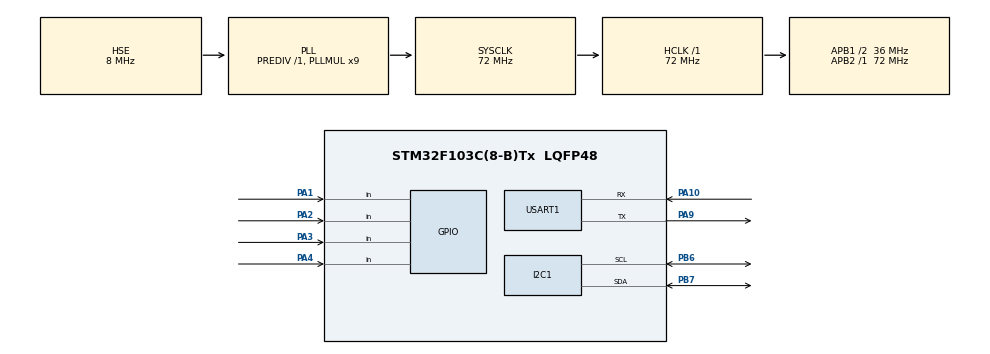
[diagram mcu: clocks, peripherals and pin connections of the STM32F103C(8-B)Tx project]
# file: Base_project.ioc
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FREERTOS.Tasks01=defaultTask,24,128,StartDefaultTask,Default,NULL,Dynamic,NULL,NULL
FREERTOS.configTOTAL_HEAP_SIZE=8000
FREERTOS.configUSE_IDLE_HOOK=1
Mcu.Family=STM32F1
Mcu.Name=STM32F103C(8-B)Tx
Mcu.Package=LQFP48
NVIC.PriorityGroup=NVIC_PRIORITYGROUP_4
NVIC.TIM3_IRQn=true\:5\:0\:false\:false\:true\:true\:true\:true\:true
NVIC.TIM4_IRQn=true\:15\:0\:false\:false\:true\:false\:false\:true\:true
NVIC.TimeBase=TIM4_IRQn
NVIC.TimeBaseIP=TIM4
PA1.GPIO_PuPd=GPIO_PULLUP
PA1.Signal=GPIO_Input
PA10.Mode=Asynchronous
PA10.Signal=USART1_RX
PA13.Mode=Serial_Wire
PA13.Signal=SYS_JTMS-SWDIO
PA14.Mode=Serial_Wire
PA14.Signal=SYS_JTCK-SWCLK
PA2.GPIO_PuPd=GPIO_PULLUP
PA2.Signal=GPIO_Input
PA3.GPIO_PuPd=GPIO_PULLUP
PA3.Signal=GPIO_Input
PA4.GPIO_PuPd=GPIO_PULLUP
PA4.Signal=GPIO_Input
PA9.Mode=Asynchronous
PA9.Signal=USART1_TX
PB6.Mode=I2C
PB6.Signal=I2C1_SCL
PB7.Mode=I2C
PB7.Signal=I2C1_SDA
PC14-OSC32_IN.Mode=LSE-External-Oscillator
PC14-OSC32_IN.Signal=RCC_OSC32_IN
PC15-OSC32_OUT.Mode=LSE-External-Oscillator
PC15-OSC32_OUT.Signal=RCC_OSC32_OUT
PD0-OSC_IN.Mode=HSE-External-Oscillator
PD0-OSC_IN.Signal=RCC_OSC_IN
PD1-OSC_OUT.Mode=HSE-External-Oscillator
PD1-OSC_OUT.Signal=RCC_OSC_OUT
ProjectManager.HeapSize=0x200
ProjectManager.StackSize=0x400
ProjectManager.TargetToolchain=MDK-ARM V5.32
RCC.AHBFreq_Value=72000000
RCC.APB1CLKDivider=RCC_HCLK_DIV2
RCC.APB1Freq_Value=36000000
RCC.APB1TimFreq_Value=72000000
RCC.APB2Freq_Value=72000000
RCC.APB2TimFreq_Value=72000000
RCC.HCLKFreq_Value=72000000
RCC.PLLMUL=RCC_PLL_MUL9
RCC.PLLSourceVirtual=RCC_PLLSOURCE_HSE
RCC.RTCClockSelection=RCC_RTCCLKSOURCE_HSE_DIV128
RCC.SYSCLKFreq_VALUE=72000000
RCC.SYSCLKSource=RCC_SYSCLKSOURCE_PLLCLK
RCC.USBFreq_Value=72000000
TIM3.AutoReloadPreload=TIM_AUTORELOAD_PRELOAD_ENABLE
TIM3.Period=100
TIM3.Prescaler=7200
USART1.VirtualMode=VM_ASYNC
VP_FREERTOS_VS_CMSIS_V2.Mode=CMSIS_V2
VP_RTC_VS_RTC_Activate.Mode=RTC_Enabled
VP_SYS_VS_tim4.Mode=TIM4
VP_TIM3_VS_ClockSourceINT.Mode=Internal
board=custom

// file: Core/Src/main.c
/* USER CODE BEGIN Header */
/**
  ******************************************************************************
  * @file           : main.c
  * @brief          : Main program body
  ******************************************************************************
  * @attention
  *
  * Copyright (c) 2025 STMicroelectronics.
  * All rights reserved.
  *
  * This software is licensed under terms that can be found in the LICENSE file
  * in the root directory of this software component.
  * If no LICENSE file comes with this software, it is provided AS-IS.
  *
  ******************************************************************************
  */
/* USER CODE END Header */
#include "main.h"
#include "cmsis_os.h"
#include "i2c.h"
#include "rtc.h"
#include "tim.h"
#include "usart.h"
#include "gpio.h"

void SystemClock_Config(void);
void MX_FREERTOS_Init(void);

int main(void)
{

  /* MCU Configuration--------------------------------------------------------*/

  /* Reset of all peripherals, Initializes the Flash interface and the Systick. */
  HAL_Init();

  /* Configure the system clock */
  SystemClock_Config();

  /* Initialize all configured peripherals */
  MX_GPIO_Init();
  MX_I2C1_Init();
  MX_USART1_UART_Init();
  MX_RTC_Init();
  MX_TIM3_Init();

  /* Init scheduler */
  osKernelInitialize();

  /* Call init function for freertos objects (in cmsis_os2.c) */
  MX_FREERTOS_Init();

  /* Start scheduler */
  osKernelStart();

  /* We should never get here as control is now taken by the scheduler */

  /* Infinite loop */
  while (1)
  {

  }
}

void SystemClock_Config(void)
{
  RCC_OscInitTypeDef RCC_OscInitStruct = {0};
  RCC_ClkInitTypeDef RCC_ClkInitStruct = {0};
  RCC_PeriphCLKInitTypeDef PeriphClkInit = {0};

  /** Initializes the RCC Oscillators according to the specified parameters
  * in the RCC_OscInitTypeDef structure.
  */
  RCC_OscInitStruct.OscillatorType = RCC_OSCILLATORTYPE_HSE;
  RCC_OscInitStruct.HSEState = RCC_HSE_ON;
  RCC_OscInitStruct.HSEPredivValue = RCC_HSE_PREDIV_DIV1;
  RCC_OscInitStruct.HSIState = RCC_HSI_ON;
  RCC_OscInitStruct.PLL.PLLState = RCC_PLL_ON;
  RCC_OscInitStruct.PLL.PLLSource = RCC_PLLSOURCE_HSE;
  RCC_OscInitStruct.PLL.PLLMUL = RCC_PLL_MUL9;
  if (HAL_RCC_OscConfig(&RCC_OscInitStruct) != HAL_OK)
  {
    Error_Handler();
  }

  /** Initializes the CPU, AHB and APB buses clocks
  */
  RCC_ClkInitStruct.ClockType = RCC_CLOCKTYPE_HCLK|RCC_CLOCKTYPE_SYSCLK
                              |RCC_CLOCKTYPE_PCLK1|RCC_CLOCKTYPE_PCLK2;
  RCC_ClkInitStruct.SYSCLKSource = RCC_SYSCLKSOURCE_PLLCLK;
  RCC_ClkInitStruct.AHBCLKDivider = RCC_SYSCLK_DIV1;
  RCC_ClkInitStruct.APB1CLKDivider = RCC_HCLK_DIV2;
  RCC_ClkInitStruct.APB2CLKDivider = RCC_HCLK_DIV1;

  if (HAL_RCC_ClockConfig(&RCC_ClkInitStruct, FLASH_LATENCY_2) != HAL_OK)
  {
    Error_Handler();
  }
  PeriphClkInit.PeriphClockSelection = RCC_PERIPHCLK_RTC;
  PeriphClkInit.RTCClockSelection = RCC_RTCCLKSOURCE_HSE_DIV128;
  if (HAL_RCCEx_PeriphCLKConfig(&PeriphClkInit) != HAL_OK)
  {
    Error_Handler();
  }
}

void HAL_TIM_PeriodElapsedCallback(TIM_HandleTypeDef *htim)
{
  if (htim->Instance == TIM4)
  {
    HAL_IncTick();
  }
}

void Error_Handler(void)
{
  __disable_irq();
  while (1)
  {
  }
}

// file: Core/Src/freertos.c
/* USER CODE BEGIN Header */
/**
  ******************************************************************************
  * File Name          : freertos.c
  * Description        : Code for freertos applications
  ******************************************************************************
  * @attention
  *
  * Copyright (c) 2025 STMicroelectronics.
  * All rights reserved.
  *
  * This software is licensed under terms that can be found in the LICENSE file
  * in the root directory of this software component.
  * If no LICENSE file comes with this software, it is provided AS-IS.
  *
  ******************************************************************************
  */

/* USER CODE END Header */

#include "FreeRTOS.h"
#include "task.h"
#include "main.h"
#include "cmsis_os.h"

/* USER CODE BEGIN Includes */
#include <stdio.h>
#include "key.h"
#include "oled.h"

/* USER CODE END Includes */

/* USER CODE BEGIN PTD */
 extern TIM_HandleTypeDef htim3;
/* USER CODE END PTD */

/* Definitions for defaultTask */
osThreadId_t defaultTaskHandle;
const osThreadAttr_t defaultTask_attributes = {
  .name = "defaultTask",
  .stack_size = 128 * 4,
  .priority = (osPriority_t) osPriorityNormal,
};

void StartDefaultTask(void *argument);

void MX_FREERTOS_Init(void); /* (MISRA C 2004 rule 8.1) */

/* Hook prototypes */
void vApplicationIdleHook(void);

/* USER CODE BEGIN 2 */
void vApplicationIdleHook( void )
{
   /* vApplicationIdleHook() will only be called if configUSE_IDLE_HOOK is set
   to 1 in FreeRTOSConfig.h. It will be called on each iteration of the idle
   task. It is essential that code added to this hook function never attempts
   to block in any way (for example, call xQueueReceive() with a block time
   specified, or call vTaskDelay()). If the application makes use of the
   vTaskDelete() API function (as this demo application does) then it is also
   important that vApplicationIdleHook() is permitted to return to its calling
   function, because it is the responsibility of the idle task to clean up
   memory allocated by the kernel to any task that has since been deleted. */
}
/* USER CODE END 2 */

void MX_FREERTOS_Init(void) {
  /* USER CODE BEGIN Init */
	HAL_TIM_Base_Start_IT(&htim3);
	key_init();
	oled_init();
  /* USER CODE END Init */

  /* Create the thread(s) */
  /* creation of defaultTask */
  defaultTaskHandle = osThreadNew(StartDefaultTask, NULL, &defaultTask_attributes);

}

void StartDefaultTask(void *argument)
{
  /* USER CODE BEGIN StartDefaultTask */
	key_state_t key;

	printf("Hello word\r\n");
	  oled_show_char(0, 0, 'A', OLED_FONT_6X8);
    oled_show_string(10, 0, (uint8_t*)"123", OLED_FONT_6X8);
	 oled_show_string(10, 16, (uint8_t*)"123", OLED_FONT_6X8);
	 oled_show_string(10, 32, (uint8_t*)"123", OLED_FONT_6X8);
	oled_update_all();//必须要更新屏幕123

  /* Infinite loop */
  for(;;)
  {
	  key_get_state(&key);
	  if(key.value != NO_KEY){
		  printf("key.value:%d\r\n",key.value);
			printf("key.event:%d\r\n",key.event);

	  }
//	  vTaskDelete(NULL);
    osDelay(50);
  }
  /* USER CODE END StartDefaultTask */
}
